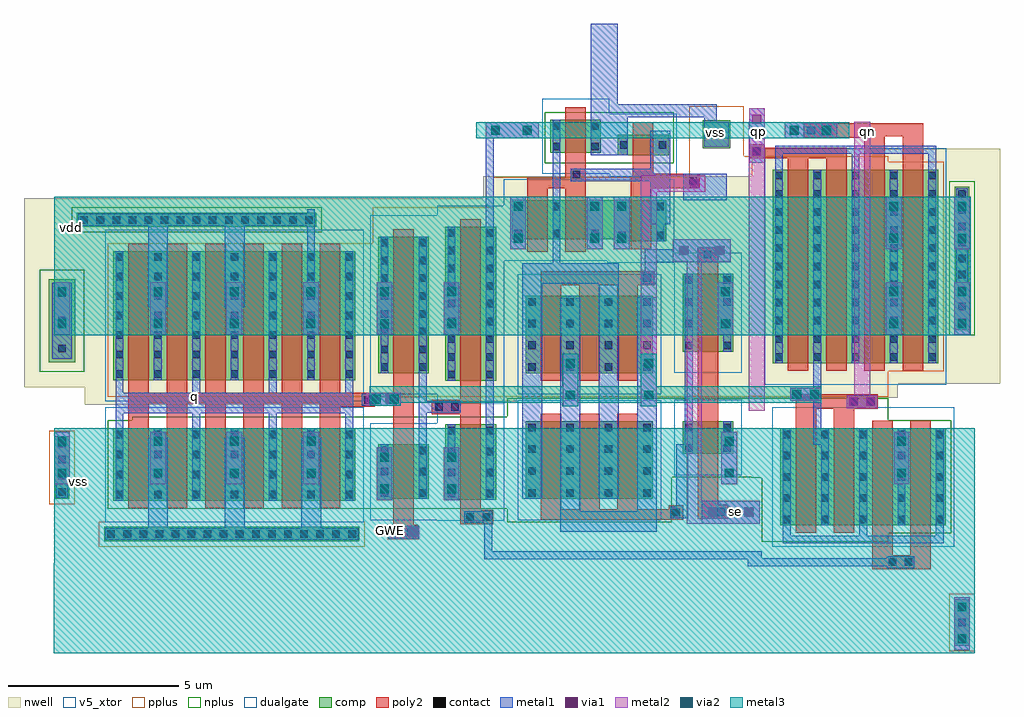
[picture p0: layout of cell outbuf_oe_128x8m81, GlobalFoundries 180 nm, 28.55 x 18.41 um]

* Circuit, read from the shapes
.subckt outbuf_oe_128x8m81 GWE q qn qp se vdd vss
XM1 vss nmos_5p04310590548745_128x8m81_65/D q vss nfet_05v0 w=2.12u l=0.6u m=6
XM2 nmos_5p04310590548752_128x8m81_75/S GWE vss vss nfet_05v0 w=1.6u l=0.6u
XM3 nmos_5p04310590548744_128x8m81_60/S nmos_5p04310590548752_128x8m81_75/S vss vss nfet_05v0 w=2.2u l=0.6u
XM4 nmos_5p04310590548745_128x8m81_65/D nmos_5p0431059054878_128x8m81_43/D nmos_5p04310590548750_128x8m81_71/D vss nfet_05v0 w=2.27u l=0.6u m=3
XM5 vss nmos_5p04310590548733_128x8m81_54/D nmos_5p04310590548750_128x8m81_71/D vss nfet_05v0 w=0.96u l=0.6u
XM6 nmos_5p04310590548733_128x8m81_54/D nmos_5p04310590548745_128x8m81_65/D vss vss nfet_05v0 w=0.6u l=0.6u
XM7 vss se nmos_5p0431059054878_128x8m81_43/D vss nfet_05v0 w=0.96u l=0.6u
XM8 nmos_5p04310590548745_128x8m81_65/D qn nmos_5p04310590548745_128x8m81_65/S vss nfet_05v0 w=2.84u l=0.6u m=2
XM9 vss nmos_5p04310590548752_128x8m81_75/S nmos_5p04310590548745_128x8m81_65/S vss nfet_05v0 w=2.84u l=0.6u m=2
XM10 vdd nmos_5p04310590548745_128x8m81_65/D q vdd pfet_05v0 w=3.78u l=0.6u m=6
XM11 nmos_5p04310590548752_128x8m81_75/S GWE vdd vdd pfet_05v0 w=4u l=0.6u
XM12 nmos_5p04310590548744_128x8m81_60/S nmos_5p04310590548752_128x8m81_75/S vdd vdd pfet_05v0 w=4.5u l=0.6u
XM13 nmos_5p04310590548750_128x8m81_71/D nmos_5p04310590548733_128x8m81_54/D vdd vdd pfet_05v0 w=1.14u l=0.6u m=2
XM14 nmos_5p04310590548745_128x8m81_65/D se nmos_5p04310590548750_128x8m81_71/D vdd pfet_05v0 w=2.27u l=0.6u m=3
XM15 nmos_5p04310590548733_128x8m81_54/D nmos_5p04310590548745_128x8m81_65/D vdd vdd pfet_05v0 w=1.2u l=0.6u
XM16 vdd se nmos_5p0431059054878_128x8m81_43/D vdd pfet_05v0 w=2.27u l=0.6u
XM17 nmos_5p04310590548745_128x8m81_65/D qp pmos_5p04310590548751_128x8m81_73/S vdd pfet_05v0 w=5.67u l=0.6u m=2
XM18 vdd nmos_5p04310590548744_128x8m81_60/S pmos_5p04310590548751_128x8m81_73/S vdd pfet_05v0 w=5.67u l=0.6u m=2
.ends

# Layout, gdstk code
from math import pi, radians
import gdstk
lib = gdstk.Library(unit=1e-6, precision=1e-09)
def R(c, l, rs):  # rectangles x0, y0, x1, y1
    for r in rs: c.add(gdstk.rectangle(r[:2], r[2:], *l))
def A(c, l, x, y, w, h, nx, ny, dx, dy):  # array of equal rectangles
    R(c, l, [(x+i*dx, y+j*dy, x+i*dx+w, y+j*dy+h) for i in range(nx) for j in range(ny)])
def P(c, l, *ps):  # polygons
    for p in ps: c.add(gdstk.Polygon(p, *l))
nwell = (21, 0)
comp = (22, 0)
poly2 = (30, 0)
pplus = (31, 0)
nplus = (32, 0)
contact = (33, 0)
metal1 = (34, 0)
via1 = (35, 0)
metal2 = (36, 0)
via2 = (38, 0)
metal3 = (42, 0)
dualgate = (55, 0)
v5_xtor = (112, 1)

m2_m1431059054870_128x8m = lib.new_cell('M2_M1431059054870_128x8m81')
R(m2_m1431059054870_128x8m, metal1, [(-0.45,-0.19,0.45,0.19)])
R(m2_m1431059054870_128x8m, via1, [(-0.39,-0.13,-0.13,0.13), (0.13,-0.13,0.39,0.13)])
R(m2_m1431059054870_128x8m, metal2, [(-0.45,-0.19,0.45,0.19)])

m3_m2431059054874_128x8m = lib.new_cell('M3_M2431059054874_128x8m81')
R(m3_m2431059054874_128x8m, metal2, [(-0.45,-0.19,0.45,0.19)])
R(m3_m2431059054874_128x8m, via2, [(-0.39,-0.13,-0.13,0.13), (0.13,-0.13,0.39,0.13)])
R(m3_m2431059054874_128x8m, metal3, [(-0.45,-0.19,0.45,0.19)])

m1_poly24310590548732_12 = lib.new_cell('M1_POLY24310590548732_128x8m81')
R(m1_poly24310590548732_12, poly2, [(-0.21,-0.21,0.21,0.21)])
R(m1_poly24310590548732_12, contact, [(-0.11,-0.11,0.11,0.11)])
R(m1_poly24310590548732_12, metal1, [(-0.17,-0.17,0.17,0.17)])

via1_x2_128x8m81 = lib.new_cell('via1_x2_128x8m81')
R(via1_x2_128x8m81, metal1, [(0,-0.005,0.46,1.59)])
R(via1_x2_128x8m81, via1, [(0.1,0.2,0.36,0.46), (0.1,1.13,0.36,1.39)])
R(via1_x2_128x8m81, metal2, [(0,0,0.46,1.59)])

via1_x2_r90_128x8m81 = lib.new_cell('via1_x2_R90_128x8m81')
R(via1_x2_r90_128x8m81, metal1, [(0,0,0.46,1.54)])
R(via1_x2_r90_128x8m81, via1, [(0.1,0.2,0.36,0.46), (0.1,1.13,0.36,1.39)])
R(via1_x2_r90_128x8m81, metal2, [(0,0,0.46,1.54)])

via2_x2_r90_128x8m81 = lib.new_cell('via2_x2_R90_128x8m81')
R(via2_x2_r90_128x8m81, metal2, [(0,0,0.46,1.54)])
R(via2_x2_r90_128x8m81, via2, [(0.1,0.2,0.36,0.46), (0.1,1.13,0.36,1.39)])
R(via2_x2_r90_128x8m81, metal3, [(0,-0.005,0.465,1.54)])

via1_2_x2_128x8m81 = lib.new_cell('via1_2_x2_128x8m81')
via1_2_x2_128x8m81.add(gdstk.Reference(via1_x2_r90_128x8m81, (0,0)))
via1_2_x2_128x8m81.add(gdstk.Reference(via2_x2_r90_128x8m81, (0,0)))

nmos_5p0431059054878_128 = lib.new_cell('nmos_5p0431059054878_128x8m81')
R(nmos_5p0431059054878_128, comp, [(-0.44,0,1.04,0.96), (-0.44,0,-0.08,0.96), (0.68,0,1.04,0.96)])
R(nmos_5p0431059054878_128, poly2, [(0,-0.22,0.6,1.18), (0,0.96,0.6,1.18)])
R(nmos_5p0431059054878_128, nplus, [(-0.6,-0.23,1.2,1.19)])
R(nmos_5p0431059054878_128, contact, [(-0.37,0.07,-0.15,0.29), (0.75,0.07,0.97,0.29), (-0.37,0.67,-0.15,0.89), (0.75,0.67,0.97,0.89)])
R(nmos_5p0431059054878_128, metal1, [(-0.375,0,-0.145,0.96), (-0.375,0,-0.145,0.96), (0.745,0,0.975,0.96), (0.745,0,0.975,0.96)])
R(nmos_5p0431059054878_128, dualgate, [(-0.68,-0.62,1.28,1.58)])
R(nmos_5p0431059054878_128, v5_xtor, [(-0.68,-0.62,1.28,1.58)])
nmos_5p0431059054878_128.add(gdstk.Label('S', (-0.26,0.48), layer=34, texttype=0))
nmos_5p0431059054878_128.add(gdstk.Label('D', (0.86,0.48), layer=34, texttype=0))

m1_poly24310590548734_12 = lib.new_cell('M1_POLY24310590548734_128x8m81')
R(m1_poly24310590548734_12, poly2, [(-0.445,-0.21,0.445,0.21)])
R(m1_poly24310590548734_12, contact, [(-0.345,-0.11,-0.125,0.11), (0.125,-0.11,0.345,0.11)])
R(m1_poly24310590548734_12, metal1, [(-0.405,-0.17,0.405,0.17)])

via1_r270_128x8m81 = lib.new_cell('via1_R270_128x8m81')
R(via1_r270_128x8m81, metal1, [(-0.005,0,0.48,0.64)])
R(via1_r270_128x8m81, via1, [(0.11,0.19,0.37,0.45)])
R(via1_r270_128x8m81, metal2, [(-0.005,-0.005,0.48,0.635)])

pmos_5p04310590548713_12 = lib.new_cell('pmos_5p04310590548713_128x8m81')
R(pmos_5p04310590548713_12, nwell, [(-1.04,-0.6,3.88,2.87)])
A(pmos_5p04310590548713_12, comp, -0.44, 0, 0.36, 2.27, 4, 1, 1.12, 0)
R(pmos_5p04310590548713_12, comp, [(-0.44,0,3.28,2.27)])
A(pmos_5p04310590548713_12, poly2, 0, -0.22, 0.6, 2.71, 3, 1, 1.12, 0)
A(pmos_5p04310590548713_12, poly2, 0, 2.27, 0.6, 0.22, 3, 1, 1.12, 0)
R(pmos_5p04310590548713_12, pplus, [(-0.6,-0.23,3.44,2.5)])
A(pmos_5p04310590548713_12, contact, -0.37, 0.07, 0.22, 0.22, 4, 2, 1.12, 0.64)
A(pmos_5p04310590548713_12, contact, -0.37, 1.345, 0.22, 0.22, 4, 2, 1.12, 0.635)
R(pmos_5p04310590548713_12, metal1, [(-0.375,0,-0.145,2.27), (-0.375,0,-0.145,2.27), (0.745,0,0.975,2.27), (0.745,0,0.975,2.27), (1.865,0,2.095,2.27), (1.865,0,2.095,2.27), (2.985,0,3.215,2.27), (2.985,0,3.215,2.27)])
R(pmos_5p04310590548713_12, dualgate, [(-0.68,-0.62,3.52,2.89)])
R(pmos_5p04310590548713_12, v5_xtor, [(-0.68,-0.62,3.52,2.89)])
pmos_5p04310590548713_12.add(gdstk.Label('S', (-0.26,1.135), layer=34, texttype=0))
pmos_5p04310590548713_12.add(gdstk.Label('D', (3.1,1.135), layer=34, texttype=0))
pmos_5p04310590548713_12.add(gdstk.Label('D', (0.86,1.135), layer=34, texttype=0))
pmos_5p04310590548713_12.add(gdstk.Label('S', (1.98,1.135), layer=34, texttype=0))

pmos_5p04310590548714_12 = lib.new_cell('pmos_5p04310590548714_128x8m81')
R(pmos_5p04310590548714_12, nwell, [(-1.04,-0.6,1.64,2.87)])
R(pmos_5p04310590548714_12, comp, [(-0.44,0,1.04,2.27), (-0.44,0,-0.08,2.27), (0.68,0,1.04,2.27)])
R(pmos_5p04310590548714_12, poly2, [(0,-0.22,0.6,2.49), (0,2.27,0.6,2.49)])
R(pmos_5p04310590548714_12, pplus, [(-0.6,-0.23,1.2,2.5)])
A(pmos_5p04310590548714_12, contact, -0.37, 0.71, 0.22, 0.22, 1, 3, 0, 0.635)
A(pmos_5p04310590548714_12, contact, 0.75, 0.71, 0.22, 0.22, 1, 3, 0, 0.635)
R(pmos_5p04310590548714_12, contact, [(-0.37,0.07,-0.15,0.29), (0.75,0.07,0.97,0.29)])
R(pmos_5p04310590548714_12, metal1, [(-0.375,0,-0.145,2.27), (-0.375,0,-0.145,2.27), (0.745,0,0.975,2.27), (0.745,0,0.975,2.27)])
R(pmos_5p04310590548714_12, dualgate, [(-0.68,-0.62,1.28,2.89)])
R(pmos_5p04310590548714_12, v5_xtor, [(-0.68,-0.62,1.28,2.89)])
pmos_5p04310590548714_12.add(gdstk.Label('S', (-0.26,1.135), layer=34, texttype=0))
pmos_5p04310590548714_12.add(gdstk.Label('D', (0.86,1.135), layer=34, texttype=0))

m1_pactive4310590548735_ = lib.new_cell('M1_PACTIVE4310590548735_128x8m81')
R(m1_pactive4310590548735_, comp, [(-0.21,-0.915,0.21,0.915)])
R(m1_pactive4310590548735_, pplus, [(-0.37,-1.075,0.37,1.075)])
A(m1_pactive4310590548735_, contact, -0.11, -0.815, 0.22, 0.22, 1, 4, 0, 0.47)
R(m1_pactive4310590548735_, metal1, [(-0.17,-0.875,0.17,0.875)])

nmos_5p04310590548733_12 = lib.new_cell('nmos_5p04310590548733_128x8m81')
R(nmos_5p04310590548733_12, comp, [(-0.44,0,1.04,0.6), (-0.44,0,-0.08,0.6), (0.68,0,1.04,0.6)])
R(nmos_5p04310590548733_12, poly2, [(0,-0.22,0.6,0.82), (0,0.6,0.6,0.82)])
R(nmos_5p04310590548733_12, nplus, [(-0.6,-0.23,1.2,0.83)])
R(nmos_5p04310590548733_12, contact, [(-0.37,0.19,-0.15,0.41), (0.75,0.19,0.97,0.41)])
R(nmos_5p04310590548733_12, metal1, [(-0.375,0,-0.145,0.6), (-0.375,0,-0.145,0.6), (0.745,0,0.975,0.6), (0.745,0,0.975,0.6)])
R(nmos_5p04310590548733_12, dualgate, [(-0.68,-0.62,1.28,1.22)])
R(nmos_5p04310590548733_12, v5_xtor, [(-0.68,-0.62,1.28,1.22)])
nmos_5p04310590548733_12.add(gdstk.Label('S', (-0.26,0.3), layer=34, texttype=0))
nmos_5p04310590548733_12.add(gdstk.Label('D', (0.86,0.3), layer=34, texttype=0))

pmos_5p04310590548738_12 = lib.new_cell('pmos_5p04310590548738_128x8m81')
R(pmos_5p04310590548738_12, nwell, [(-1.04,-0.6,1.64,1.8)])
R(pmos_5p04310590548738_12, comp, [(-0.44,0,1.04,1.2), (-0.44,0,-0.08,1.2), (0.68,0,1.04,1.2)])
R(pmos_5p04310590548738_12, poly2, [(0,-0.22,0.6,1.42), (0,1.2,0.6,1.42)])
R(pmos_5p04310590548738_12, pplus, [(-0.6,-0.23,1.2,1.43)])
R(pmos_5p04310590548738_12, contact, [(-0.37,0.07,-0.15,0.29), (0.75,0.07,0.97,0.29), (-0.37,0.91,-0.15,1.13), (0.75,0.91,0.97,1.13)])
R(pmos_5p04310590548738_12, metal1, [(-0.375,0,-0.145,1.2), (-0.375,0,-0.145,1.2), (0.745,0,0.975,1.2), (0.745,0,0.975,1.2)])
R(pmos_5p04310590548738_12, dualgate, [(-0.68,-0.62,1.28,1.82)])
R(pmos_5p04310590548738_12, v5_xtor, [(-0.68,-0.62,1.28,1.82)])
pmos_5p04310590548738_12.add(gdstk.Label('S', (-0.26,0.6), layer=34, texttype=0))
pmos_5p04310590548738_12.add(gdstk.Label('D', (0.86,0.6), layer=34, texttype=0))

m1_nactive4310590548740_ = lib.new_cell('M1_NACTIVE4310590548740_128x8m81')
R(m1_nactive4310590548740_, comp, [(-0.21,-2.09,0.21,2.09)])
R(m1_nactive4310590548740_, nplus, [(-0.37,-2.25,0.37,2.25)])
A(m1_nactive4310590548740_, contact, -0.11, -1.99, 0.22, 0.22, 1, 9, 0, 0.47)
R(m1_nactive4310590548740_, metal1, [(-0.17,-2.05,0.17,2.05)])

m1_pactive4310590548741_ = lib.new_cell('M1_PACTIVE4310590548741_128x8m81')
R(m1_pactive4310590548741_, comp, [(-0.21,-0.68,0.21,0.68)])
R(m1_pactive4310590548741_, pplus, [(-0.37,-0.84,0.37,0.84)])
A(m1_pactive4310590548741_, contact, -0.11, -0.58, 0.22, 0.22, 1, 3, 0, 0.47)
R(m1_pactive4310590548741_, metal1, [(-0.17,-0.64,0.17,0.64)])

m1_pactive4310590548742_ = lib.new_cell('M1_PACTIVE4310590548742_128x8m81')
R(m1_pactive4310590548742_, comp, [(-3.735,-0.21,3.735,0.21)])
R(m1_pactive4310590548742_, pplus, [(-3.895,-0.37,3.895,0.37)])
A(m1_pactive4310590548742_, contact, -3.635, -0.11, 0.22, 0.22, 16, 1, 0.47, 0)
R(m1_pactive4310590548742_, metal1, [(-3.695,-0.17,3.695,0.17)])

m1_nactive4310590548743_ = lib.new_cell('M1_NACTIVE4310590548743_128x8m81')
R(m1_nactive4310590548743_, comp, [(-3.5,-0.21,3.5,0.21)])
R(m1_nactive4310590548743_, nplus, [(-3.66,-0.37,3.66,0.37)])
A(m1_nactive4310590548743_, contact, -3.4, -0.11, 0.22, 0.22, 15, 1, 0.47, 0)
R(m1_nactive4310590548743_, metal1, [(-3.46,-0.17,3.46,0.17)])

nmos_5p04310590548744_12 = lib.new_cell('nmos_5p04310590548744_128x8m81')
R(nmos_5p04310590548744_12, comp, [(-0.44,0,1.04,2.2), (-0.44,0,-0.08,2.2), (0.68,0,1.04,2.2)])
R(nmos_5p04310590548744_12, poly2, [(0,-0.22,0.6,2.42), (0,2.2,0.6,2.42)])
R(nmos_5p04310590548744_12, nplus, [(-0.6,-0.23,1.2,2.43)])
A(nmos_5p04310590548744_12, contact, -0.37, 0.07, 0.22, 0.22, 1, 3, 0, 0.615)
A(nmos_5p04310590548744_12, contact, 0.75, 0.07, 0.22, 0.22, 1, 3, 0, 0.615)
R(nmos_5p04310590548744_12, contact, [(-0.37,1.91,-0.15,2.13), (0.75,1.91,0.97,2.13)])
R(nmos_5p04310590548744_12, metal1, [(-0.375,0,-0.145,2.2), (-0.375,0,-0.145,2.2), (0.745,0,0.975,2.2), (0.745,0,0.975,2.2)])
R(nmos_5p04310590548744_12, dualgate, [(-0.68,-0.62,1.28,2.82)])
R(nmos_5p04310590548744_12, v5_xtor, [(-0.68,-0.62,1.28,2.82)])
nmos_5p04310590548744_12.add(gdstk.Label('S', (-0.26,1.1), layer=34, texttype=0))
nmos_5p04310590548744_12.add(gdstk.Label('D', (0.86,1.1), layer=34, texttype=0))

m2_m1__168351788_r90_128 = lib.new_cell('M2_M1$$168351788_R90_128x8m81')
R(m2_m1__168351788_r90_128, metal1, [(-0.335,-0.85,0.335,0.845)])
R(m2_m1__168351788_r90_128, via1, [(-0.13,-0.66,0.13,-0.4), (-0.13,0.4,0.13,0.66)])
R(m2_m1__168351788_r90_128, metal2, [(-0.335,-0.85,0.335,0.845)])

m1_psub__171626540_128x8 = lib.new_cell('M1_PSUB$$171626540_128x8m81')
R(m1_psub__171626540_128x8, comp, [(-0.4,-0.41,0.4,0.415)])
R(m1_psub__171626540_128x8, pplus, [(-0.795,-0.82,0.795,0.82)])
R(m1_psub__171626540_128x8, contact, [(-0.11,-0.11,0.11,0.11)])
R(m1_psub__171626540_128x8, metal1, [(-0.355,-0.365,0.355,0.37)])

pmos_5p0431059054873_128 = lib.new_cell('pmos_5p0431059054873_128x8m81')
R(pmos_5p0431059054873_128, nwell, [(-1.04,-0.6,2.76,1.74)])
A(pmos_5p0431059054873_128, comp, -0.44, 0, 0.36, 1.14, 3, 1, 1.12, 0)
R(pmos_5p0431059054873_128, comp, [(-0.44,0,2.16,1.14)])
R(pmos_5p0431059054873_128, poly2, [(0,-0.22,0.6,1.36), (1.12,-0.22,1.72,1.36), (0,1.14,0.6,1.36), (1.12,1.14,1.72,1.36)])
R(pmos_5p0431059054873_128, pplus, [(-0.6,-0.23,2.32,1.37)])
A(pmos_5p0431059054873_128, contact, -0.37, 0.07, 0.22, 0.22, 3, 2, 1.12, 0.78)
R(pmos_5p0431059054873_128, metal1, [(-0.375,0,-0.145,1.14), (-0.375,0,-0.145,1.14), (0.745,0,0.975,1.14), (0.745,0,0.975,1.14), (1.865,0,2.095,1.14), (1.865,0,2.095,1.14)])
R(pmos_5p0431059054873_128, dualgate, [(-0.68,-0.62,2.4,1.76)])
R(pmos_5p0431059054873_128, v5_xtor, [(-0.68,-0.62,2.4,1.76)])
pmos_5p0431059054873_128.add(gdstk.Label('S', (-0.26,0.57), layer=34, texttype=0))
pmos_5p0431059054873_128.add(gdstk.Label('S', (1.98,0.57), layer=34, texttype=0))
pmos_5p0431059054873_128.add(gdstk.Label('D', (0.86,0.57), layer=34, texttype=0))

pmos_1p2__171625516_128x = lib.new_cell('pmos_1p2$$171625516_128x8m81')
R(pmos_1p2__171625516_128x, nwell, [(-1.43,-0.71,2.84,-0.705)])
R(pmos_1p2__171625516_128x, poly2, [(-0.155,-0.37,0.445,0), (0.965,-0.37,1.565,0), (-0.155,1.14,0.445,1.5), (0.965,1.14,1.565,1.5)])
R(pmos_1p2__171625516_128x, pplus, [(-1.145,-0.685,2.55,1.82)])
pmos_1p2__171625516_128x.add(gdstk.Reference(pmos_5p0431059054873_128, (-0.155,0)))

nmos_5p04310590548745_12 = lib.new_cell('nmos_5p04310590548745_128x8m81')
A(nmos_5p04310590548745_12, comp, -0.44, 0, 0.36, 2.84, 3, 1, 1.12, 0)
R(nmos_5p04310590548745_12, comp, [(-0.44,0,2.16,2.84)])
R(nmos_5p04310590548745_12, poly2, [(0,-0.22,0.6,3.06), (1.12,-0.22,1.72,3.06), (0,2.84,0.6,3.06), (1.12,2.84,1.72,3.06)])
R(nmos_5p04310590548745_12, nplus, [(-0.6,-0.23,2.32,3.07)])
A(nmos_5p04310590548745_12, contact, -0.37, 0.07, 0.22, 0.22, 3, 5, 1.12, 0.62)
R(nmos_5p04310590548745_12, metal1, [(-0.375,0,-0.145,2.84), (-0.375,0,-0.145,2.84), (0.745,0,0.975,2.84), (0.745,0,0.975,2.84), (1.865,0,2.095,2.84), (1.865,0,2.095,2.84)])
R(nmos_5p04310590548745_12, dualgate, [(-0.68,-0.62,2.4,3.46)])
R(nmos_5p04310590548745_12, v5_xtor, [(-0.68,-0.62,2.4,3.46)])
nmos_5p04310590548745_12.add(gdstk.Label('S', (-0.26,1.42), layer=34, texttype=0))
nmos_5p04310590548745_12.add(gdstk.Label('S', (1.98,1.42), layer=34, texttype=0))
nmos_5p04310590548745_12.add(gdstk.Label('D', (0.86,1.42), layer=34, texttype=0))

nmos_5p04310590548746_12 = lib.new_cell('nmos_5p04310590548746_128x8m81')
A(nmos_5p04310590548746_12, comp, -0.44, 0, 0.36, 2.12, 7, 1, 1.12, 0)
R(nmos_5p04310590548746_12, comp, [(-0.44,0,6.64,2.12)])
A(nmos_5p04310590548746_12, poly2, 0, -0.22, 0.6, 2.56, 6, 1, 1.12, 0)
A(nmos_5p04310590548746_12, poly2, 0, 2.12, 0.6, 0.22, 6, 1, 1.12, 0)
R(nmos_5p04310590548746_12, nplus, [(-0.6,-0.23,6.8,2.35)])
A(nmos_5p04310590548746_12, contact, -0.37, 0.07, 0.22, 0.22, 7, 2, 1.12, 0.59)
A(nmos_5p04310590548746_12, contact, -0.37, 1.245, 0.22, 0.22, 7, 2, 1.12, 0.585)
R(nmos_5p04310590548746_12, metal1, [(-0.375,0,-0.145,2.12), (-0.375,0,-0.145,2.12), (0.745,0,0.975,2.12), (0.745,0,0.975,2.12), (1.865,0,2.095,2.12), (1.865,0,2.095,2.12), (2.985,0,3.215,2.12), (2.985,0,3.215,2.12), (4.105,0,4.335,2.12), (4.105,0,4.335,2.12), (5.225,0,5.455,2.12), (5.225,0,5.455,2.12), (6.345,0,6.575,2.12), (6.345,0,6.575,2.12)])
R(nmos_5p04310590548746_12, dualgate, [(-0.68,-0.62,6.88,2.74)])
R(nmos_5p04310590548746_12, v5_xtor, [(-0.68,-0.62,6.88,2.74)])
nmos_5p04310590548746_12.add(gdstk.Label('S', (-0.26,1.06), layer=34, texttype=0))
nmos_5p04310590548746_12.add(gdstk.Label('S', (6.46,1.06), layer=34, texttype=0))
nmos_5p04310590548746_12.add(gdstk.Label('D', (0.86,1.06), layer=34, texttype=0))
nmos_5p04310590548746_12.add(gdstk.Label('S', (1.98,1.06), layer=34, texttype=0))
nmos_5p04310590548746_12.add(gdstk.Label('D', (3.1,1.06), layer=34, texttype=0))
nmos_5p04310590548746_12.add(gdstk.Label('S', (4.22,1.06), layer=34, texttype=0))
nmos_5p04310590548746_12.add(gdstk.Label('D', (5.34,1.06), layer=34, texttype=0))

pmos_5p04310590548747_12 = lib.new_cell('pmos_5p04310590548747_128x8m81')
R(pmos_5p04310590548747_12, nwell, [(-1.04,-0.6,1.64,4.6)])
R(pmos_5p04310590548747_12, comp, [(-0.44,0,1.04,4), (-0.44,0,-0.08,4), (0.68,0,1.04,4)])
R(pmos_5p04310590548747_12, poly2, [(0,-0.22,0.6,4.22), (0,4,0.6,4.22)])
R(pmos_5p04310590548747_12, pplus, [(-0.6,-0.23,1.2,4.23)])
A(pmos_5p04310590548747_12, contact, -0.37, 0.07, 0.22, 0.22, 1, 8, 0, 0.52)
A(pmos_5p04310590548747_12, contact, 0.75, 0.07, 0.22, 0.22, 1, 8, 0, 0.52)
R(pmos_5p04310590548747_12, metal1, [(-0.375,0,-0.145,4), (-0.375,0,-0.145,4), (0.745,0,0.975,4), (0.745,0,0.975,4)])
R(pmos_5p04310590548747_12, dualgate, [(-0.68,-0.62,1.28,4.62)])
R(pmos_5p04310590548747_12, v5_xtor, [(-0.68,-0.62,1.28,4.62)])
pmos_5p04310590548747_12.add(gdstk.Label('S', (-0.26,2), layer=34, texttype=0))
pmos_5p04310590548747_12.add(gdstk.Label('D', (0.86,2), layer=34, texttype=0))

pmos_5p04310590548748_12 = lib.new_cell('pmos_5p04310590548748_128x8m81')
R(pmos_5p04310590548748_12, nwell, [(-1.04,-0.6,1.64,5.1)])
R(pmos_5p04310590548748_12, comp, [(-0.44,0,1.04,4.5), (-0.44,0,-0.08,4.5), (0.68,0,1.04,4.5)])
R(pmos_5p04310590548748_12, poly2, [(0,-0.22,0.6,4.72), (0,4.5,0.6,4.72)])
R(pmos_5p04310590548748_12, pplus, [(-0.6,-0.23,1.2,4.73)])
A(pmos_5p04310590548748_12, contact, -0.37, 0.07, 0.22, 0.22, 1, 5, 0, 0.52)
A(pmos_5p04310590548748_12, contact, 0.75, 0.07, 0.22, 0.22, 1, 5, 0, 0.52)
A(pmos_5p04310590548748_12, contact, -0.37, 2.665, 0.22, 0.22, 1, 4, 0, 0.515)
A(pmos_5p04310590548748_12, contact, 0.75, 2.665, 0.22, 0.22, 1, 4, 0, 0.515)
R(pmos_5p04310590548748_12, metal1, [(-0.375,0,-0.145,4.5), (-0.375,0,-0.145,4.5), (0.745,0,0.975,4.5), (0.745,0,0.975,4.5)])
R(pmos_5p04310590548748_12, dualgate, [(-0.68,-0.62,1.28,5.12)])
R(pmos_5p04310590548748_12, v5_xtor, [(-0.68,-0.62,1.28,5.12)])
pmos_5p04310590548748_12.add(gdstk.Label('S', (-0.26,2.25), layer=34, texttype=0))
pmos_5p04310590548748_12.add(gdstk.Label('D', (0.86,2.25), layer=34, texttype=0))

pmos_5p04310590548749_12 = lib.new_cell('pmos_5p04310590548749_128x8m81')
R(pmos_5p04310590548749_12, nwell, [(-1.04,-0.6,7.24,4.38)])
A(pmos_5p04310590548749_12, comp, -0.44, 0, 0.36, 3.78, 7, 1, 1.12, 0)
R(pmos_5p04310590548749_12, comp, [(-0.44,0,6.64,3.78)])
A(pmos_5p04310590548749_12, poly2, 0, -0.22, 0.6, 4.22, 6, 1, 1.12, 0)
A(pmos_5p04310590548749_12, poly2, 0, 3.78, 0.6, 0.22, 6, 1, 1.12, 0)
R(pmos_5p04310590548749_12, pplus, [(-0.6,-0.23,6.8,4.01)])
A(pmos_5p04310590548749_12, contact, -0.37, 0.07, 0.22, 0.22, 7, 7, 1.12, 0.57)
R(pmos_5p04310590548749_12, metal1, [(-0.375,0,-0.145,3.78), (-0.375,0,-0.145,3.78), (0.745,0,0.975,3.78), (0.745,0,0.975,3.78), (1.865,0,2.095,3.78), (1.865,0,2.095,3.78), (2.985,0,3.215,3.78), (2.985,0,3.215,3.78), (4.105,0,4.335,3.78), (4.105,0,4.335,3.78), (5.225,0,5.455,3.78), (5.225,0,5.455,3.78), (6.345,0,6.575,3.78), (6.345,0,6.575,3.78)])
R(pmos_5p04310590548749_12, dualgate, [(-0.68,-0.62,6.88,4.4)])
R(pmos_5p04310590548749_12, v5_xtor, [(-0.68,-0.62,6.88,4.4)])
pmos_5p04310590548749_12.add(gdstk.Label('S', (-0.26,1.89), layer=34, texttype=0))
pmos_5p04310590548749_12.add(gdstk.Label('S', (6.46,1.89), layer=34, texttype=0))
pmos_5p04310590548749_12.add(gdstk.Label('D', (0.86,1.89), layer=34, texttype=0))
pmos_5p04310590548749_12.add(gdstk.Label('S', (1.98,1.89), layer=34, texttype=0))
pmos_5p04310590548749_12.add(gdstk.Label('D', (3.1,1.89), layer=34, texttype=0))
pmos_5p04310590548749_12.add(gdstk.Label('S', (4.22,1.89), layer=34, texttype=0))
pmos_5p04310590548749_12.add(gdstk.Label('D', (5.34,1.89), layer=34, texttype=0))

nmos_5p04310590548750_12 = lib.new_cell('nmos_5p04310590548750_128x8m81')
A(nmos_5p04310590548750_12, comp, -0.44, 0, 0.36, 2.27, 4, 1, 1.12, 0)
R(nmos_5p04310590548750_12, comp, [(-0.44,0,3.28,2.27)])
A(nmos_5p04310590548750_12, poly2, 0, -0.22, 0.6, 2.71, 3, 1, 1.12, 0)
A(nmos_5p04310590548750_12, poly2, 0, 2.27, 0.6, 0.22, 3, 1, 1.12, 0)
R(nmos_5p04310590548750_12, nplus, [(-0.6,-0.23,3.44,2.5)])
A(nmos_5p04310590548750_12, contact, -0.37, 0.07, 0.22, 0.22, 4, 2, 1.12, 0.64)
A(nmos_5p04310590548750_12, contact, -0.37, 1.345, 0.22, 0.22, 4, 2, 1.12, 0.635)
R(nmos_5p04310590548750_12, metal1, [(-0.375,0,-0.145,2.27), (-0.375,0,-0.145,2.27), (0.745,0,0.975,2.27), (0.745,0,0.975,2.27), (1.865,0,2.095,2.27), (1.865,0,2.095,2.27), (2.985,0,3.215,2.27), (2.985,0,3.215,2.27)])
R(nmos_5p04310590548750_12, dualgate, [(-0.68,-0.62,3.52,2.89)])
R(nmos_5p04310590548750_12, v5_xtor, [(-0.68,-0.62,3.52,2.89)])
nmos_5p04310590548750_12.add(gdstk.Label('S', (-0.26,1.135), layer=34, texttype=0))
nmos_5p04310590548750_12.add(gdstk.Label('D', (3.1,1.135), layer=34, texttype=0))
nmos_5p04310590548750_12.add(gdstk.Label('D', (0.86,1.135), layer=34, texttype=0))
nmos_5p04310590548750_12.add(gdstk.Label('S', (1.98,1.135), layer=34, texttype=0))

m1_nwell__170851372_128x = lib.new_cell('M1_NWELL$$170851372_128x8m81')
R(m1_nwell__170851372_128x, nwell, [(-1.955,-1.105,1.955,1.105)])
R(m1_nwell__170851372_128x, comp, [(-1.215,-0.385,1.22,0.39)])
R(m1_nwell__170851372_128x, nplus, [(-1.49,-0.65,1.49,0.655)])
A(m1_nwell__170851372_128x, contact, -0.925, -0.11, 0.22, 0.22, 3, 1, 0.815, 0)
R(m1_nwell__170851372_128x, metal1, [(-1.115,-0.285,1.115,0.29)])

pmos_5p04310590548751_12 = lib.new_cell('pmos_5p04310590548751_128x8m81')
R(pmos_5p04310590548751_12, nwell, [(-1.04,-0.6,2.76,6.27)])
A(pmos_5p04310590548751_12, comp, -0.44, 0, 0.36, 5.67, 3, 1, 1.12, 0)
R(pmos_5p04310590548751_12, comp, [(-0.44,0,2.16,5.67)])
R(pmos_5p04310590548751_12, poly2, [(0,-0.22,0.6,5.89), (1.12,-0.22,1.72,5.89), (0,5.67,0.6,5.89), (1.12,5.67,1.72,5.89)])
R(pmos_5p04310590548751_12, pplus, [(-0.6,-0.23,2.32,5.9)])
A(pmos_5p04310590548751_12, contact, -0.37, 0.07, 0.22, 0.22, 3, 3, 1.12, 0.535)
A(pmos_5p04310590548751_12, contact, -0.37, 1.67, 0.22, 0.22, 3, 8, 1.12, 0.53)
R(pmos_5p04310590548751_12, metal1, [(-0.375,0,-0.145,5.67), (-0.375,0,-0.145,5.67), (0.745,0,0.975,5.67), (0.745,0,0.975,5.67), (1.865,0,2.095,5.67), (1.865,0,2.095,5.67)])
R(pmos_5p04310590548751_12, dualgate, [(-0.68,-0.62,2.4,6.29)])
R(pmos_5p04310590548751_12, v5_xtor, [(-0.68,-0.62,2.4,6.29)])
pmos_5p04310590548751_12.add(gdstk.Label('S', (-0.26,2.835), layer=34, texttype=0))
pmos_5p04310590548751_12.add(gdstk.Label('S', (1.98,2.835), layer=34, texttype=0))
pmos_5p04310590548751_12.add(gdstk.Label('D', (0.86,2.835), layer=34, texttype=0))

nmos_5p04310590548752_12 = lib.new_cell('nmos_5p04310590548752_128x8m81')
R(nmos_5p04310590548752_12, comp, [(-0.44,0,1.04,1.6), (-0.44,0,-0.08,1.6), (0.68,0,1.04,1.6)])
R(nmos_5p04310590548752_12, poly2, [(0,-0.22,0.6,1.82), (0,1.6,0.6,1.82)])
R(nmos_5p04310590548752_12, nplus, [(-0.6,-0.23,1.2,1.83)])
A(nmos_5p04310590548752_12, contact, -0.37, 0.07, 0.22, 0.22, 1, 3, 0, 0.62)
A(nmos_5p04310590548752_12, contact, 0.75, 0.07, 0.22, 0.22, 1, 3, 0, 0.62)
R(nmos_5p04310590548752_12, metal1, [(-0.375,0,-0.145,1.6), (-0.375,0,-0.145,1.6), (0.745,0,0.975,1.6), (0.745,0,0.975,1.6)])
R(nmos_5p04310590548752_12, dualgate, [(-0.68,-0.62,1.28,2.22)])
R(nmos_5p04310590548752_12, v5_xtor, [(-0.68,-0.62,1.28,2.22)])
nmos_5p04310590548752_12.add(gdstk.Label('S', (-0.26,0.8), layer=34, texttype=0))
nmos_5p04310590548752_12.add(gdstk.Label('D', (0.86,0.8), layer=34, texttype=0))

outbuf_oe_128x8m81 = lib.new_cell('outbuf_oe_128x8m81')
R(outbuf_oe_128x8m81, nwell, [(-0.88,5.48,7.7,5.98), (11.18,5.685,16.57,9.37), (18.63,5.685,22.9,12.765), (15.77,6.32,18.92,10.005), (13.81,10.06,16.96,12.155)])
P(outbuf_oe_128x8m81, nwell, [(-0.875,5.685),(-0.875,5.98),(-2.66,5.98),(-2.66,11.51),(10.775,11.51),(10.775,12.155),(18.63,12.155),(18.63,12.765),(22.9,12.765),(22.9,12.955),(25.885,12.955),(25.885,6.085),(22.9,6.085),(22.9,5.685)])
R(outbuf_oe_128x8m81, comp, [(14.07,10.31,15.485,11.45)])
A(outbuf_oe_128x8m81, poly2, 12.455, 8.665, 0.6, 0.54, 3, 1, 1.12, 0)
R(outbuf_oe_128x8m81, poly2, [(8.145,1.8,8.745,9.3), (10.105,1.98,10.705,6.395), (17.045,2.135,17.645,3.87), (13.575,2.31,14.175,2.645), (14.695,2.31,15.295,2.645), (17.05,3.665,17.645,4.03), (17.05,4.99,17.645,5.355), (17.045,5.14,17.645,6.885), (6.575,5.41,7.505,5.83), (17.05,6.66,17.645,7.025), (12.455,8.965,15.77,9.385), (17.045,9.3,17.645,10.085), (15.085,11.45,15.685,11.82), (19.68,12.065,20.28,12.825), (20.8,12.065,21.4,12.825), (13.175,12.485,13.77,12.85), (18.57,12.68,21.4,12.985), (15.15,13.37,15.75,13.73), (13.175,13.81,13.77,14.175)])
P(outbuf_oe_128x8m81, poly2, [(0.395,4.84),(0.395,6.09),(0.995,6.09),(0.995,5.83),(1.515,5.83),(1.515,6.09),(2.115,6.09),(2.115,5.83),(2.635,5.83),(2.635,6.09),(3.235,6.09),(3.235,5.83),(3.755,5.83),(3.755,6.09),(4.355,6.09),(4.355,5.83),(4.875,5.83),(4.875,6.09),(5.475,6.09),(5.475,5.83),(5.995,5.83),(5.995,6.09),(6.595,6.09),(6.595,5.83),(7.03,5.83),(7.03,5.525),(6.595,5.525),(6.595,4.84),(5.995,4.84),(5.995,5.525),(5.475,5.525),(5.475,4.84),(4.875,4.84),(4.875,5.525),(4.355,5.525),(4.355,4.84),(3.755,4.84),(3.755,5.525),(3.235,5.525),(3.235,4.84),(2.635,4.84),(2.635,5.525),(2.115,5.525),(2.115,4.84),(1.515,4.84),(1.515,5.525),(0.995,5.525),(0.995,4.84)],
  [(12.055,11.805),(12.055,12.11),(13.175,12.11),(13.175,14.175),(13.775,14.175),(13.775,11.805)],
  [(12.455,2.115),(12.455,2.645),(13.055,2.645),(13.055,2.42),(16.62,2.42),(16.62,2.115)],
  [(15.085,11.805),(15.085,12.11),(15.15,12.11),(15.15,12.875),(15.75,12.875),(15.75,12.225),(17.11,12.225),(17.11,11.805)],
  [(19.905,4.99),(19.905,5.775),(22.31,5.775),(22.31,5.355),(21.625,5.355),(21.625,4.99),(21.025,4.99),(21.025,5.355),(20.505,5.355),(20.505,4.99)],
  [(21.92,12.565),(21.92,13.285),(20.19,13.285),(20.19,13.705),(23.64,13.705),(23.64,12.565),(23.04,12.565),(23.04,13.33),(22.52,13.33),(22.52,12.565)],
  [(22.145,0.66),(22.145,1.8),(22.745,1.8),(22.745,1.035),(23.265,1.035),(23.265,1.8),(23.865,1.8),(23.865,0.66)])
R(outbuf_oe_128x8m81, pplus, [(11.47,5.71,16.285,9.345), (18.915,5.71,22.61,12.745), (16.06,6.345,18.635,9.98), (14.095,10.085,16.67,12.135)])
P(outbuf_oe_128x8m81, pplus, [(10.91,5.71),(10.91,9.705),(11.065,9.705),(11.065,12.135),(16.795,12.135),(16.795,12.745),(22.615,12.745),(22.615,5.71)],
  [(-0.205,5.71),(-0.205,10.2),(7.545,10.2),(7.545,11.25),(19.235,11.25),(19.235,5.71)])
R(outbuf_oe_128x8m81, nplus, [(18.915,1.47,22.61,5.67), (11.47,2.035,16.285,5.67), (0.5,2.435,11.48,5.13), (18.63,3.34,18.925,5.67), (16.06,3.35,18.635,5.67), (12.575,12.535,16.35,14.035)])
A(outbuf_oe_128x8m81, metal1, 0.97, 1.74, 0.58, 2.765, 3, 1, 2.24, 0)
R(outbuf_oe_128x8m81, metal1, [(9.005,5.24,9.525,5.58), (0.97,8.325,1.55,10.955), (3.21,8.325,3.79,10.955), (5.62,8.325,5.85,11.195), (16.62,11.45,17.9,12.225)])
P(outbuf_oe_128x8m81, metal1, [(11.91,2.72),(11.91,9.615),(12.8,9.615),(12.8,13.765),(13.03,13.765),(13.03,9.615),(14.73,9.615),(14.73,2.72),(14.15,2.72),(14.15,9.02),(12.49,9.02),(12.49,2.72)],
  [(15.655,10.76),(15.655,12.01),(13.335,12.01),(13.335,12.38),(15.655,12.38),(15.655,13.495),(16.235,13.495),(16.235,10.76)],
  [(15.49,9.005),(15.49,10.02),(18.01,10.02),(18.01,9.645),(15.85,9.645),(15.85,9.005)],
  [(16.41,2.16),(16.41,4.315),(16.67,4.315),(16.67,9.015),(16.9,9.015),(16.9,4.035),(16.77,4.035),(16.77,2.16)],
  [(13.03,1.765),(13.03,8.61),(13.61,8.61),(13.61,2.36),(15.27,2.36),(15.27,8.62),(15.85,8.62),(15.85,1.765)],
  [(20.425,4.31),(20.425,7.12),(20.655,7.12),(20.655,4.785),(20.805,4.785),(20.805,4.31)],
  [(0.02,3.895),(0.02,7.225),(0.25,7.225),(0.25,5.83),(2.26,5.83),(2.26,7.225),(2.49,7.225),(2.49,5.83),(4.5,5.83),(4.5,7.225),(4.73,7.225),(4.73,5.83),(6.74,5.83),(6.74,7.225),(6.97,7.225),(6.97,3.895),(6.74,3.895),(6.74,5.23),(4.73,5.23),(4.73,3.895),(4.5,3.895),(4.5,5.23),(2.49,5.23),(2.49,3.895),(2.26,3.895),(2.26,5.23),(0.25,5.23),(0.25,3.895)],
  [(13.92,12.765),(13.92,16.62),(14.705,16.62),(14.705,14.265),(17.595,14.265),(17.595,13.02),(17.235,13.02),(17.235,13.89),(15.005,13.89),(15.005,12.765)],
  [(21.545,12.065),(21.545,12.815),(19.535,12.815),(19.535,12.175),(19.305,12.175),(19.305,13.045),(24.015,13.045),(24.015,12.175),(23.785,12.175),(23.785,12.815),(21.775,12.815),(21.775,12.065)])
R(outbuf_oe_128x8m81, metal2, [(16.72,2,17.165,10.32), (18.54,5.3,19.01,13.755), (21.62,5.375,22.09,13.755)])
P(outbuf_oe_128x8m81, metal2, [(15.38,5.515),(15.38,12.19),(17.22,12.19),(17.22,11.705),(15.85,11.705),(15.85,5.515)])
R(outbuf_oe_128x8m81, metal3, [(7.455,5.53,20.655,6.015), (-1.78,7.51,25.03,11.56), (10.565,13.275,21.48,13.74)])
P(outbuf_oe_128x8m81, metal3, [(-1.785,-1.795),(-1.785,0.845),(-1.78,0.845),(-1.78,4.785),(25.14,4.785),(25.14,-1.795)])
outbuf_oe_128x8m81.add(gdstk.FlexPath([(18.915,1.07),(10.915,1.07),(10.915,2.38)], 0.23, ends="flush", simple_path=True, layer=34, datatype=0))  # metal1
outbuf_oe_128x8m81.add(gdstk.FlexPath([(19.645,2.315),(19.645,1.535),(21.885,1.535),(21.885,2.425)], 0.23, ends="flush", simple_path=True, layer=34, datatype=0))  # metal1
outbuf_oe_128x8m81.add(gdstk.FlexPath([(24.125,2.315),(24.125,1.535),(21.835,1.535)], 0.23, ends="flush", simple_path=True, layer=34, datatype=0))  # metal1
outbuf_oe_128x8m81.add(gdstk.FlexPath([(9.005,6.575),(9.005,3.99)], 0.23, ends="flush", simple_path=True, layer=34, datatype=0))  # metal1
outbuf_oe_128x8m81.add(gdstk.FlexPath([(10.965,6.575),(10.965,3.99)], 0.23, ends="flush", simple_path=True, layer=34, datatype=0))  # metal1
outbuf_oe_128x8m81.add(gdstk.FlexPath([(10.965,10.025),(10.965,13.565)], 0.23, ends="flush", simple_path=True, layer=34, datatype=0))  # metal1
outbuf_oe_128x8m81.add(gdstk.FlexPath([(22.74,0.87),(18.51,0.87)], 0.23, ends="flush", simple_path=True, layer=34, datatype=0))  # metal1
outbuf_oe_128x8m81.add(gdstk.FlexPath([(21.66,12.93),(21.66,12.97)], 0.23, ends=(0.115, 0), simple_path=True, layer=34, datatype=0))  # metal1
outbuf_oe_128x8m81.add(gdstk.Reference(m2_m1431059054870_128x8m, (21.85,5.565)))
outbuf_oe_128x8m81.add(gdstk.Reference(m2_m1431059054870_128x8m, (20.205,5.78)))
outbuf_oe_128x8m81.add(gdstk.Reference(m2_m1431059054870_128x8m, (7.79,5.64)))
outbuf_oe_128x8m81.add(gdstk.Reference(m2_m1431059054870_128x8m, (8.45,1.75)))
outbuf_oe_128x8m81.add(gdstk.Reference(m3_m2431059054874_128x8m, (7.905,5.635)))
outbuf_oe_128x8m81.add(gdstk.Reference(m3_m2431059054874_128x8m, (20.205,5.78)))
outbuf_oe_128x8m81.add(gdstk.Reference(m1_poly24310590548732_12, (16.41,2.325)))
outbuf_oe_128x8m81.add(gdstk.Reference(m1_poly24310590548732_12, (18.78,12.89)))
outbuf_oe_128x8m81.add(gdstk.Reference(m1_poly24310590548732_12, (17.335,9.875)))
outbuf_oe_128x8m81.add(gdstk.Reference(m1_poly24310590548732_12, (15.56,9.175)))
outbuf_oe_128x8m81.add(gdstk.Reference(m1_poly24310590548732_12, (16.9,12.015)))
outbuf_oe_128x8m81.add(gdstk.Reference(m1_poly24310590548732_12, (13.505,12.21)))
outbuf_oe_128x8m81.add(gdstk.Reference(m1_poly24310590548732_12, (17.73,2.345)))
outbuf_oe_128x8m81.add(gdstk.Reference(m1_poly24310590548732_12, (7.395,5.62), rotation=pi/2))
outbuf_oe_128x8m81.add(gdstk.Reference(via1_x2_128x8m81, (19.005,12.56), rotation=pi, x_reflection=True))
outbuf_oe_128x8m81.add(gdstk.Reference(via1_2_x2_128x8m81, (14.595,10.02)))
outbuf_oe_128x8m81.add(gdstk.Reference(via1_2_x2_128x8m81, (9.615,2.685)))
outbuf_oe_128x8m81.add(gdstk.Reference(via1_2_x2_128x8m81, (7.655,2.685)))
outbuf_oe_128x8m81.add(gdstk.Reference(via1_2_x2_128x8m81, (9.615,7.515)))
outbuf_oe_128x8m81.add(gdstk.Reference(via1_2_x2_128x8m81, (7.655,7.515)))
outbuf_oe_128x8m81.add(gdstk.Reference(via1_2_x2_128x8m81, (24.545,10.02)))
outbuf_oe_128x8m81.add(gdstk.Reference(via1_2_x2_128x8m81, (24.545,7.515)))
outbuf_oe_128x8m81.add(gdstk.Reference(via1_2_x2_128x8m81, (-1.78,3.15)))
outbuf_oe_128x8m81.add(gdstk.Reference(via1_2_x2_128x8m81, (-1.78,7.515)))
outbuf_oe_128x8m81.add(gdstk.Reference(via1_2_x2_128x8m81, (11.56,10.02)))
outbuf_oe_128x8m81.add(gdstk.Reference(via1_2_x2_128x8m81, (13.805,10.02)))
outbuf_oe_128x8m81.add(gdstk.Reference(via1_2_x2_128x8m81, (5.51,3.15)))
outbuf_oe_128x8m81.add(gdstk.Reference(via1_2_x2_128x8m81, (17.735,3.15)))
outbuf_oe_128x8m81.add(gdstk.Reference(via1_2_x2_128x8m81, (17.625,7.515)))
outbuf_oe_128x8m81.add(gdstk.Reference(via1_2_x2_128x8m81, (22.775,3.15)))
outbuf_oe_128x8m81.add(gdstk.Reference(via1_2_x2_128x8m81, (22.55,10.02)))
outbuf_oe_128x8m81.add(gdstk.Reference(via1_2_x2_128x8m81, (22.55,7.515)))
outbuf_oe_128x8m81.add(gdstk.Reference(via1_2_x2_128x8m81, (1.03,3.15)))
outbuf_oe_128x8m81.add(gdstk.Reference(via1_2_x2_128x8m81, (3.26,3.15)))
outbuf_oe_128x8m81.add(gdstk.Reference(via1_2_x2_128x8m81, (5.5,7.515)))
outbuf_oe_128x8m81.add(gdstk.Reference(via1_2_x2_128x8m81, (3.26,7.515)))
outbuf_oe_128x8m81.add(gdstk.Reference(via1_2_x2_128x8m81, (1.03,7.515)))
outbuf_oe_128x8m81.add(gdstk.Reference(via1_2_x2_128x8m81, (24.545,-1.7)))
outbuf_oe_128x8m81.add(gdstk.Reference(via1_2_x2_128x8m81, (12.39,13.275), rotation=pi/2))
outbuf_oe_128x8m81.add(gdstk.Reference(via1_2_x2_128x8m81, (21.13,13.275), rotation=pi/2))
outbuf_oe_128x8m81.add(gdstk.Reference(via1_2_x2_128x8m81, (13.55,5.43), rotation=pi, x_reflection=True))
outbuf_oe_128x8m81.add(gdstk.Reference(via1_2_x2_128x8m81, (15.845,5.43), rotation=pi, x_reflection=True))
outbuf_oe_128x8m81.add(gdstk.Reference(nmos_5p0431059054878_128, (13.175,13.805), x_reflection=True))
outbuf_oe_128x8m81.add(gdstk.Reference(nmos_5p0431059054878_128, (17.645,4.035), rotation=pi, x_reflection=True))
outbuf_oe_128x8m81.add(gdstk.Reference(m1_poly24310590548734_12, (21.865,5.565)))
outbuf_oe_128x8m81.add(gdstk.Reference(m1_poly24310590548734_12, (8.43,1.755)))
outbuf_oe_128x8m81.add(gdstk.Reference(m1_poly24310590548734_12, (22.975,0.87)))
outbuf_oe_128x8m81.add(gdstk.Reference(m1_poly24310590548734_12, (20.595,13.495), x_reflection=True))
outbuf_oe_128x8m81.add(gdstk.Reference(m1_poly24310590548734_12, (9.71,5.41), rotation=pi))
outbuf_oe_128x8m81.add(gdstk.Reference(m1_poly24310590548734_12, (10.625,2.19), rotation=pi))
outbuf_oe_128x8m81.add(gdstk.Reference(via1_r270_128x8m81, (16.625,12.185), rotation=3*pi/2))
outbuf_oe_128x8m81.add(gdstk.Reference(pmos_5p04310590548713_12, (15.295,6.395), rotation=pi, x_reflection=True))
outbuf_oe_128x8m81.add(gdstk.Reference(pmos_5p04310590548714_12, (17.645,7.03), rotation=pi, x_reflection=True))
outbuf_oe_128x8m81.add(gdstk.Reference(m1_pactive4310590548735_, (-1.55,3.635)))
outbuf_oe_128x8m81.add(gdstk.Reference(nmos_5p04310590548733_12, (15.15,13.365), x_reflection=True))
outbuf_oe_128x8m81.add(gdstk.Reference(pmos_5p04310590548738_12, (15.085,11.45), x_reflection=True))
outbuf_oe_128x8m81.add(gdstk.Reference(m1_nactive4310590548740_, (24.775,9.755)))
outbuf_oe_128x8m81.add(gdstk.Reference(m1_pactive4310590548741_, (24.775,-0.9)))
outbuf_oe_128x8m81.add(gdstk.Reference(m1_pactive4310590548742_, (3.415,1.69)))
outbuf_oe_128x8m81.add(gdstk.Reference(m1_nactive4310590548743_, (2.39,10.885)))
outbuf_oe_128x8m81.add(gdstk.Reference(nmos_5p04310590548744_12, (10.705,2.7), rotation=pi, x_reflection=True))
outbuf_oe_128x8m81.add(gdstk.Reference(m2_m1__168351788_r90_128, (17.16,9.985), rotation=pi/2))
outbuf_oe_128x8m81.add(gdstk.Reference(m2_m1__168351788_r90_128, (18.005,2.335), rotation=pi/2))
outbuf_oe_128x8m81.add(gdstk.Reference(m1_psub__171626540_128x8, (17.59,13.385)))
outbuf_oe_128x8m81.add(gdstk.Reference(pmos_1p2__171625516_128x, (12.21,11.45), x_reflection=True))
outbuf_oe_128x8m81.add(gdstk.Reference(nmos_5p04310590548745_12, (19.905,4.785), x_reflection=True))
outbuf_oe_128x8m81.add(gdstk.Reference(nmos_5p04310590548745_12, (22.145,4.785), x_reflection=True))
outbuf_oe_128x8m81.add(gdstk.Reference(nmos_5p04310590548746_12, (6.595,4.785), rotation=pi))
outbuf_oe_128x8m81.add(gdstk.Reference(pmos_5p04310590548747_12, (8.745,6.395), rotation=pi, x_reflection=True))
outbuf_oe_128x8m81.add(gdstk.Reference(pmos_5p04310590548748_12, (10.705,6.175), rotation=pi, x_reflection=True))
outbuf_oe_128x8m81.add(gdstk.Reference(pmos_5p04310590548749_12, (6.595,6.19), rotation=pi, x_reflection=True))
outbuf_oe_128x8m81.add(gdstk.Reference(nmos_5p04310590548750_12, (15.295,2.72), rotation=pi, x_reflection=True))
outbuf_oe_128x8m81.add(gdstk.Reference(m1_nwell__170851372_128x, (-1.55,7.935), rotation=3*pi/2))
outbuf_oe_128x8m81.add(gdstk.Reference(pmos_5p04310590548751_12, (21.92,6.685)))
outbuf_oe_128x8m81.add(gdstk.Reference(pmos_5p04310590548751_12, (19.68,6.685)))
outbuf_oe_128x8m81.add(gdstk.Reference(nmos_5p04310590548752_12, (8.745,2.72), rotation=pi, x_reflection=True))
outbuf_oe_128x8m81.add(gdstk.Label('vss', (-1.07,3.22), layer=42, texttype=10))
outbuf_oe_128x8m81.add(gdstk.Label('vdd', (-1.275,10.655), layer=42, texttype=10))
outbuf_oe_128x8m81.add(gdstk.Label('qp', (18.81,13.465), layer=36, texttype=10))
outbuf_oe_128x8m81.add(gdstk.Label('qn', (22.005,13.465), layer=36, texttype=10))
outbuf_oe_128x8m81.add(gdstk.Label('se', (18.14,2.345), layer=34, texttype=10))
outbuf_oe_128x8m81.add(gdstk.Label('q', (2.335,5.725), layer=34, texttype=10))
outbuf_oe_128x8m81.add(gdstk.Label('vss', (17.555,13.445), layer=34, texttype=10))
outbuf_oe_128x8m81.add(gdstk.Label('GWE', (8.065,1.805), layer=34, texttype=10))

lib.write_gds('outbuf_oe_128x8m81.gds')
